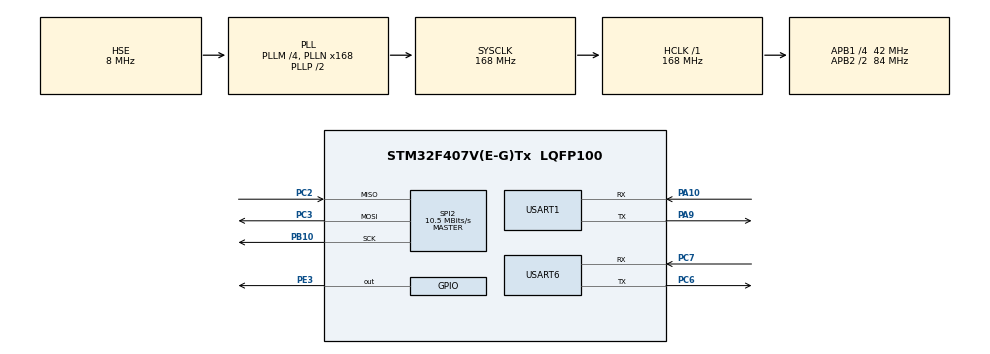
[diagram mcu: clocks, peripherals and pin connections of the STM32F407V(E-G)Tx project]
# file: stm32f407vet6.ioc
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Dma.Request0=USART1_RX
Dma.Request1=USART6_RX
Dma.USART1_RX.0.Direction=DMA_PERIPH_TO_MEMORY
Dma.USART1_RX.0.FIFOMode=DMA_FIFOMODE_DISABLE
Dma.USART1_RX.0.Instance=DMA2_Stream2
Dma.USART1_RX.0.MemDataAlignment=DMA_MDATAALIGN_BYTE
Dma.USART1_RX.0.MemInc=DMA_MINC_ENABLE
Dma.USART1_RX.0.Mode=DMA_NORMAL
Dma.USART1_RX.0.PeriphDataAlignment=DMA_PDATAALIGN_BYTE
Dma.USART1_RX.0.PeriphInc=DMA_PINC_DISABLE
Dma.USART1_RX.0.Priority=DMA_PRIORITY_LOW
Dma.USART6_RX.1.Direction=DMA_PERIPH_TO_MEMORY
Dma.USART6_RX.1.FIFOMode=DMA_FIFOMODE_DISABLE
Dma.USART6_RX.1.Instance=DMA2_Stream1
Dma.USART6_RX.1.MemDataAlignment=DMA_MDATAALIGN_BYTE
Dma.USART6_RX.1.MemInc=DMA_MINC_ENABLE
Dma.USART6_RX.1.Mode=DMA_NORMAL
Dma.USART6_RX.1.PeriphDataAlignment=DMA_PDATAALIGN_BYTE
Dma.USART6_RX.1.PeriphInc=DMA_PINC_DISABLE
Dma.USART6_RX.1.Priority=DMA_PRIORITY_LOW
IWDG.Prescaler=IWDG_PRESCALER_256
IWDG.Reload=1000
Mcu.Family=STM32F4
Mcu.Name=STM32F407V(E-G)Tx
Mcu.Package=LQFP100
NVIC.DMA2_Stream1_IRQn=true\:1\:0\:true\:false\:true\:false\:true\:true
NVIC.DMA2_Stream2_IRQn=true\:1\:0\:true\:false\:true\:false\:true\:true
NVIC.PriorityGroup=NVIC_PRIORITYGROUP_4
NVIC.USART1_IRQn=true\:0\:0\:false\:false\:true\:true\:true\:true
NVIC.USART6_IRQn=true\:0\:0\:false\:false\:true\:true\:true\:true
PA10.Mode=Asynchronous
PA10.Signal=USART1_RX
PA13.Mode=Serial_Wire
PA13.Signal=SYS_JTMS-SWDIO
PA14.Mode=Serial_Wire
PA14.Signal=SYS_JTCK-SWCLK
PA9.Mode=Asynchronous
PA9.Signal=USART1_TX
PB10.Mode=Full_Duplex_Master
PB10.Signal=SPI2_SCK
PC2.Mode=Full_Duplex_Master
PC2.Signal=SPI2_MISO
PC3.Mode=Full_Duplex_Master
PC3.Signal=SPI2_MOSI
PC6.Mode=Asynchronous
PC6.Signal=USART6_TX
PC7.Mode=Asynchronous
PC7.Signal=USART6_RX
PE3.GPIO_PuPd=GPIO_PULLUP
PE3.PinState=GPIO_PIN_SET
PE3.Signal=GPIO_Output
PH0-OSC_IN.Mode=HSE-External-Oscillator
PH0-OSC_IN.Signal=RCC_OSC_IN
PH1-OSC_OUT.Mode=HSE-External-Oscillator
PH1-OSC_OUT.Signal=RCC_OSC_OUT
ProjectManager.HeapSize=0x4000
ProjectManager.StackSize=0x1000
ProjectManager.TargetToolchain=MDK-ARM V5.32
RCC.48MHZClocksFreq_Value=84000000
RCC.AHBFreq_Value=168000000
RCC.APB1CLKDivider=RCC_HCLK_DIV4
RCC.APB1Freq_Value=42000000
RCC.APB1TimFreq_Value=84000000
RCC.APB2CLKDivider=RCC_HCLK_DIV2
RCC.APB2Freq_Value=84000000
RCC.APB2TimFreq_Value=168000000
RCC.CortexFreq_Value=168000000
RCC.HCLKFreq_Value=168000000
RCC.HSE_VALUE=8000000
RCC.HSI_VALUE=16000000
RCC.LSE_VALUE=32768
RCC.PLLM=4
RCC.PLLN=168
RCC.PLLSourceVirtual=RCC_PLLSOURCE_HSE
RCC.SYSCLKFreq_VALUE=168000000
RCC.SYSCLKSource=RCC_SYSCLKSOURCE_PLLCLK
RCC.VCOOutputFreq_Value=336000000
SPI2.BaudRatePrescaler=SPI_BAUDRATEPRESCALER_4
SPI2.CLKPhase=SPI_PHASE_2EDGE
SPI2.CLKPolarity=SPI_POLARITY_HIGH
SPI2.CalculateBaudRate=10.5 MBits/s
SPI2.Direction=SPI_DIRECTION_2LINES
SPI2.Mode=SPI_MODE_MASTER
SPI2.VirtualType=VM_MASTER
USART1.VirtualMode=VM_ASYNC
USART6.VirtualMode=VM_ASYNC
VP_IWDG_VS_IWDG.Mode=IWDG_Activate
board=custom

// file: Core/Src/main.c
/* USER CODE BEGIN Header */
/**
  ******************************************************************************
  * @file           : main.c
  * @brief          : Main program body
  ******************************************************************************
  * @attention
  *
  * Copyright (c) 2025 STMicroelectronics.
  * All rights reserved.
  *
  * This software is licensed under terms that can be found in the LICENSE file
  * in the root directory of this software component.
  * If no LICENSE file comes with this software, it is provided AS-IS.
  *
  ******************************************************************************
  */
/* USER CODE END Header */
#include "main.h"
#include "dma.h"
#include "iwdg.h"
#include "spi.h"
#include "usart.h"
#include "gpio.h"

/* USER CODE BEGIN Includes */
#include "bootloader.h"
#include "flash.h"
#include <stdio.h>
#include <string.h>
#include "log.h"
/* USER CODE END Includes */

/* USER CODE BEGIN PV */
static const char* TAG = "main";
/* USER CODE END PV */

void SystemClock_Config(void);

int main(void)
{

  /* MCU Configuration--------------------------------------------------------*/

  /* Reset of all peripherals, Initializes the Flash interface and the Systick. */
  HAL_Init();

  /* Configure the system clock */
  SystemClock_Config();

  /* Initialize all configured peripherals */
  MX_GPIO_Init();
  MX_DMA_Init();
  MX_USART1_UART_Init();
  MX_USART6_UART_Init();
  MX_SPI2_Init();
  /* USER CODE BEGIN 2 */
  LOG_INFO(TAG, "This is BootLoader code");

  bootloader_init();

  LOG_INFO(TAG, "Checking update flag ...");
  int res = bootloader_checkupdate();
  if(res == 0){
	LOG_INFO(TAG, "No version to update, ready to launch APP1");
    HAL_UART_MspDeInit(&huart1);
	HAL_UART_MspDeInit(&huart6);
	bootloader_executeapp();
  }else{
	LOG_INFO(TAG, "Updating new version ...");
    bootloader_updateapp();
	LOG_INFO(TAG, "Ready to launch APP");
	HAL_UART_MspDeInit(&huart1);
	HAL_UART_MspDeInit(&huart6);
	MX_IWDG_Init();
    bootloader_executeapp();
  }

  /* USER CODE END 2 */

  /* Infinite loop */
  while (1)
  {

  }
}

void SystemClock_Config(void)
{
  RCC_OscInitTypeDef RCC_OscInitStruct = {0};
  RCC_ClkInitTypeDef RCC_ClkInitStruct = {0};

  /** Configure the main internal regulator output voltage
  */
  __HAL_RCC_PWR_CLK_ENABLE();
  __HAL_PWR_VOLTAGESCALING_CONFIG(PWR_REGULATOR_VOLTAGE_SCALE1);

  /** Initializes the RCC Oscillators according to the specified parameters
  * in the RCC_OscInitTypeDef structure.
  */
  RCC_OscInitStruct.OscillatorType = RCC_OSCILLATORTYPE_LSI|RCC_OSCILLATORTYPE_HSE;
  RCC_OscInitStruct.HSEState = RCC_HSE_ON;
  RCC_OscInitStruct.LSIState = RCC_LSI_ON;
  RCC_OscInitStruct.PLL.PLLState = RCC_PLL_ON;
  RCC_OscInitStruct.PLL.PLLSource = RCC_PLLSOURCE_HSE;
  RCC_OscInitStruct.PLL.PLLM = 4;
  RCC_OscInitStruct.PLL.PLLN = 168;
  RCC_OscInitStruct.PLL.PLLP = RCC_PLLP_DIV2;
  RCC_OscInitStruct.PLL.PLLQ = 4;
  if (HAL_RCC_OscConfig(&RCC_OscInitStruct) != HAL_OK)
  {
    Error_Handler();
  }

  /** Initializes the CPU, AHB and APB buses clocks
  */
  RCC_ClkInitStruct.ClockType = RCC_CLOCKTYPE_HCLK|RCC_CLOCKTYPE_SYSCLK
                              |RCC_CLOCKTYPE_PCLK1|RCC_CLOCKTYPE_PCLK2;
  RCC_ClkInitStruct.SYSCLKSource = RCC_SYSCLKSOURCE_PLLCLK;
  RCC_ClkInitStruct.AHBCLKDivider = RCC_SYSCLK_DIV1;
  RCC_ClkInitStruct.APB1CLKDivider = RCC_HCLK_DIV4;
  RCC_ClkInitStruct.APB2CLKDivider = RCC_HCLK_DIV2;

  if (HAL_RCC_ClockConfig(&RCC_ClkInitStruct, FLASH_LATENCY_5) != HAL_OK)
  {
    Error_Handler();
  }
}

void Error_Handler(void)
{
  __disable_irq();
  while (1)
  {
  }
}
